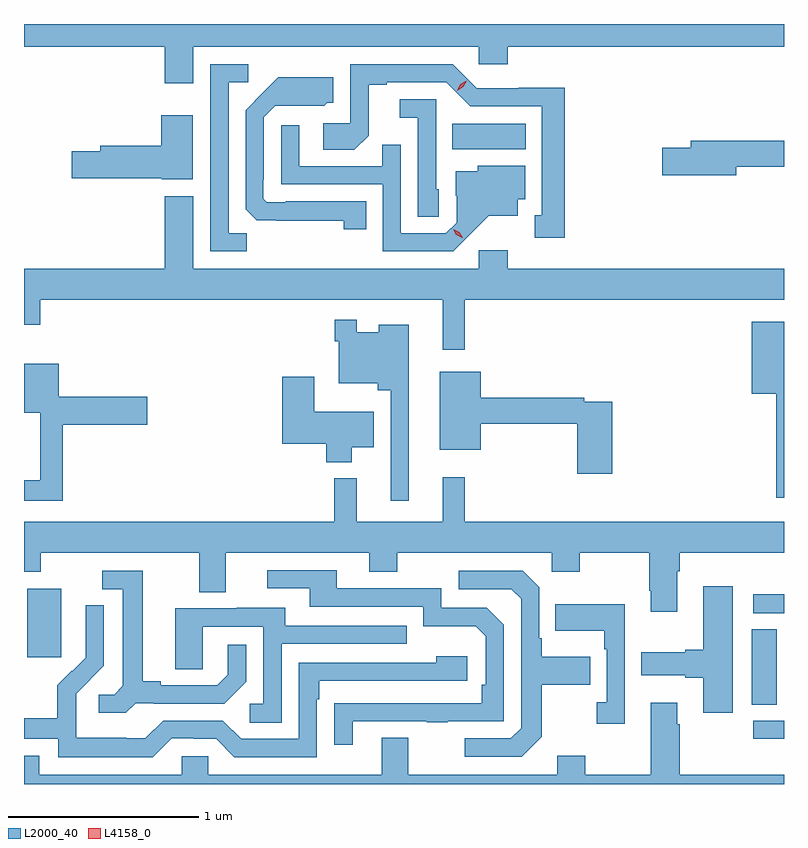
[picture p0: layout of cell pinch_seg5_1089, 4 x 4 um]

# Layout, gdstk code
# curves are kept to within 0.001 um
import gdstk
lib = gdstk.Library(unit=1e-6, precision=1e-09)
def R(c, l, rs):  # rectangles x0, y0, x1, y1
    for r in rs: c.add(gdstk.rectangle(r[:2], r[2:], *l))
def P(c, l, *ps):  # polygons
    for p in ps: c.add(gdstk.Polygon(p, *l))
L2000_40 = (2000, 40)
L4158_0 = (4158, 0)

pinch_seg5_1089 = lib.new_cell('pinch_seg5_1089')
R(pinch_seg5_1089, L2000_40, [(797.625,842.46,797.788,842.556), (797.618,842.641,797.749,843.038), (793.805,842.889,793.984,843.25), (797.625,843.123,797.788,843.222), (796.042,845.564,796.429,845.698)])
P(pinch_seg5_1089, L2000_40, [(794.68,846.104),(796.182,846.104),(796.182,846.011),(796.334,846.011),(796.334,846.104),(797.788,846.104),(797.788,846.223),(793.788,846.223),(793.788,846.104),(794.528,846.104),(794.528,845.91),(794.68,845.91)],
  [(794.961,845.123),(794.865,845.123),(794.865,845.916),(794.968,845.916),(794.968,846.012),(794.769,846.012),(794.769,845.028),(794.961,845.028)],
  [(796.633,845.888),(796.392,845.888),(796.392,845.886),(796.17,845.886),(796.044,846.012),(795.504,846.012),(795.504,845.7),(795.363,845.7),(795.363,845.56),(795.527,845.56),(795.603,845.636),(795.603,845.904),(795.697,845.904),(795.697,845.916),(796.011,845.916),(796.137,845.79),(796.514,845.79),(796.514,845.217),(796.475,845.217),(796.475,845.097),(796.633,845.097)],
  [(795.59,845.289),(795.166,845.289),(795.166,845.286),(795.066,845.286),(795.048,845.304),(795.048,845.404),(795.051,845.404),(795.051,845.733),(795.111,845.793),(795.368,845.792),(795.384,845.808),(795.415,845.808),(795.415,845.944),(795.127,845.944),(794.955,845.77),(794.955,845.248),(795.014,845.189),(795.472,845.188),(795.472,845.142),(795.59,845.142)],
  [(795.972,845.352),(795.957,845.352),(795.957,845.826),(795.765,845.826),(795.765,845.729),(795.861,845.729),(795.861,845.209),(795.972,845.209)],
  [(794.677,845.743),(794.51,845.743),(794.51,845.582),(794.189,845.582),(794.189,845.552),(794.04,845.552),(794.04,845.41),(794.514,845.41),(794.514,845.405),(794.677,845.405)],
  [(796.132,845.111),(796.235,845.213),(796.387,845.213),(796.387,845.3),(796.426,845.3),(796.426,845.476),(796.176,845.476),(796.176,845.449),(796.061,845.449),(796.061,845.32),(796.065,845.32),(796.065,845.178),(796.008,845.121),(795.771,845.121),(795.771,845.588),(795.673,845.588),(795.673,845.475),(795.237,845.475),(795.237,845.689),(795.141,845.689),(795.141,845.379),(795.675,845.379),(795.675,845.028),(796.048,845.028)],
  [(797.536,845.473),(797.788,845.473),(797.788,845.609),(797.297,845.609),(797.297,845.573),(797.148,845.573),(797.148,845.426),(797.536,845.426)],
  [(794.68,845.317),(794.528,845.317),(794.528,844.936),(793.788,844.936),(793.788,844.641),(793.874,844.641),(793.874,844.772),(795.992,844.772),(795.992,844.509),(796.109,844.509),(796.109,844.772),(797.788,844.772),(797.788,844.936),(796.334,844.936),(796.334,845.032),(796.182,845.032),(796.182,844.936),(794.68,844.936)],
  [(795.814,844.639),(795.656,844.639),(795.656,844.6),(795.54,844.6),(795.54,844.666),(795.424,844.666),(795.424,844.553),(795.444,844.553),(795.444,844.331),(795.649,844.331),(795.649,844.295),(795.717,844.295),(795.717,843.714),(795.814,843.714)],
  [(797.788,844.657),(797.618,844.657),(797.618,844.277),(797.748,844.277),(797.748,843.729),(797.788,843.729)],
  [(793.991,844.115),(794.437,844.115),(794.437,844.262),(793.972,844.262),(793.972,844.435),(793.788,844.435),(793.788,844.178),(793.874,844.178),(793.874,843.823),(793.788,843.823),(793.788,843.714),(793.991,843.714)],
  [(796.883,844.236),(796.736,844.236),(796.736,844.256),(796.192,844.256),(796.192,844.393),(795.977,844.393),(795.977,843.983),(796.192,843.983),(796.192,844.12),(796.7,844.12),(796.7,843.855),(796.883,843.855)],
  [(795.514,843.995),(795.628,843.995),(795.628,844.183),(795.316,844.183),(795.316,844.366),(795.146,844.366),(795.146,844.013),(795.38,844.013),(795.38,843.917),(795.514,843.917)],
  [(797.227,843.344),(797.24,843.344),(797.24,843.44),(797.788,843.44),(797.788,843.604),(796.109,843.604),(796.109,843.838),(795.992,843.838),(795.992,843.604),(795.539,843.604),(795.539,843.832),(795.421,843.832),(795.421,843.604),(793.788,843.604),(793.788,843.341),(793.875,843.341),(793.875,843.44),(794.711,843.44),(794.711,843.232),(794.851,843.232),(794.851,843.44),(795.605,843.44),(795.605,843.341),(795.753,843.341),(795.753,843.44),(796.566,843.44),(796.566,843.341),(796.713,843.341),(796.713,843.44),(797.08,843.44),(797.08,843.241),(797.087,843.241),(797.087,843.129),(797.227,843.129)],
  [(795.517,842.553),(795.907,842.553),(795.907,842.548),(796.019,842.548),(796.019,842.553),(796.314,842.553),(796.314,843.06),(796.224,843.15),(795.984,843.15),(795.984,843.252),(795.433,843.252),(795.433,843.348),(795.069,843.348),(795.069,843.252),(795.293,843.252),(795.293,843.156),(795.888,843.156),(795.888,843.053),(796.165,843.053),(796.218,843),(796.218,842.746),(796.198,842.746),(796.198,842.649),(795.421,842.648),(795.421,842.43),(795.517,842.43)],
  [(796.513,842.473),(796.513,842.746),(796.769,842.746),(796.769,842.893),(796.513,842.893),(796.513,842.989),(796.5,842.989),(796.5,843.258),(796.413,843.345),(796.077,843.345),(796.077,843.249),(796.353,843.249),(796.404,843.198),(796.404,842.517),(796.35,842.463),(796.107,842.463),(796.107,842.367),(796.407,842.367)],
  [(794.376,842.649),(794.47,842.649),(794.47,842.646),(794.842,842.646),(794.958,842.762),(794.958,842.956),(794.861,842.956),(794.861,842.799),(794.804,842.742),(794.509,842.742),(794.509,842.765),(794.413,842.765),(794.413,843.345),(794.199,843.345),(794.199,843.249),(794.309,843.249),(794.309,842.741),(794.262,842.694),(794.181,842.694),(794.181,842.597),(794.324,842.597)],
  [(797.518,843.265),(797.363,843.265),(797.363,842.93),(797.267,842.93),(797.267,842.917),(797.037,842.917),(797.037,842.795),(797.267,842.795),(797.267,842.783),(797.363,842.783),(797.363,842.598),(797.518,842.598)],
  [(796.95,843.169),(796.585,843.169),(796.585,843.029),(796.842,843.029),(796.842,842.933),(796.854,842.933),(796.854,842.654),(796.803,842.654),(796.803,842.541),(796.95,842.541)],
  [(794.565,842.463),(794.681,842.463),(794.681,842.46),(794.799,842.46),(794.895,842.364),(795.33,842.364),(795.33,842.669),(795.343,842.669),(795.343,842.766),(796.12,842.766),(796.12,842.896),(795.959,842.896),(795.959,842.862),(795.234,842.862),(795.234,842.46),(794.931,842.46),(794.835,842.556),(794.52,842.556),(794.427,842.463),(794.327,842.463),(794.327,842.467),(794.064,842.467),(794.064,842.601),(794.062,842.601),(794.062,842.698),(794.208,842.846),(794.208,843.164),(794.112,843.164),(794.112,843.01),(794.114,843.01),(794.114,842.888),(794.043,842.817),(794.04,842.82),(793.963,842.743),(793.963,842.569),(793.788,842.569),(793.788,842.46),(793.968,842.46),(793.968,842.363),(794.465,842.363)],
  [(795.144,842.961),(795.803,842.961),(795.803,843.057),(795.163,843.057),(795.163,843.151),(794.909,843.151),(794.909,843.147),(794.585,843.147),(794.585,842.827),(794.73,842.827),(794.73,843.051),(795.048,843.051),(795.048,842.646),(794.976,842.646),(794.976,842.545),(795.144,842.545)],
  [(797.788,842.272),(797.24,842.272),(797.24,842.537),(797.227,842.537),(797.227,842.65),(797.087,842.65),(797.087,842.272),(796.743,842.272),(796.743,842.371),(796.595,842.371),(796.595,842.272),(795.811,842.272),(795.811,842.467),(795.671,842.467),(795.671,842.272),(794.757,842.272),(794.757,842.37),(794.619,842.37),(794.619,842.272),(793.867,842.272),(793.867,842.371),(793.788,842.371),(793.788,842.223),(797.788,842.223)])
P(pinch_seg5_1089, L4158_0, [(796.067,845.873),(796.067,845.873),(796.085,845.906),(796.117,845.924),(796.118,845.924),(796.118,845.924),(796.1,845.892),(796.068,845.873)],
  [(796.095,845.099),(796.064,845.114),(796.046,845.143),(796.046,845.143),(796.047,845.143),(796.078,845.128),(796.096,845.099),(796.096,845.099)])

lib.write_gds('pinch_seg5_1089.gds')
